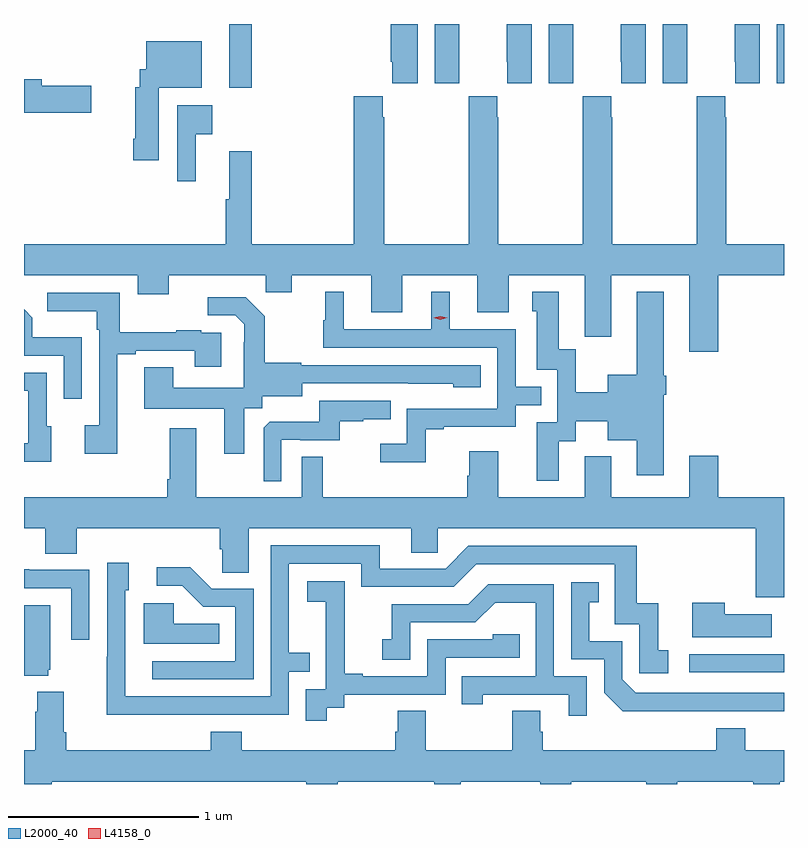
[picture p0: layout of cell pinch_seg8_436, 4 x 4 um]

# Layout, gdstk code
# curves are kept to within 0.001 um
import gdstk
lib = gdstk.Library(unit=1e-6, precision=1e-09)
def R(c, l, rs):  # rectangles x0, y0, x1, y1
    for r in rs: c.add(gdstk.rectangle(r[:2], r[2:], *l))
def P(c, l, *ps):  # polygons
    for p in ps: c.add(gdstk.Polygon(p, *l))
L2000_40 = (2000, 40)
L4158_0 = (4158, 0)

pinch_seg8_436 = lib.new_cell('pinch_seg8_436')
R(pinch_seg8_436, L2000_40, [(326.499,1138.386,326.999,1138.482), (324.08,1141.464,324.197,1141.799), (326.96,1141.488,326.999,1141.799)])
P(pinch_seg8_436, L2000_40, [(325.072,1141.799),(324.929,1141.799),(324.929,1141.6),(324.938,1141.6),(324.938,1141.488),(325.072,1141.488)],
  [(326.872,1141.799),(326.741,1141.799),(326.741,1141.6),(326.742,1141.6),(326.742,1141.488),(326.872,1141.488)],
  [(326.49,1141.6),(326.491,1141.6),(326.491,1141.799),(326.36,1141.799),(326.36,1141.488),(326.49,1141.488)],
  [(326.272,1141.799),(326.141,1141.799),(326.141,1141.6),(326.142,1141.6),(326.142,1141.488),(326.272,1141.488)],
  [(325.89,1141.6),(325.891,1141.6),(325.891,1141.799),(325.76,1141.799),(325.76,1141.488),(325.89,1141.488)],
  [(325.672,1141.799),(325.541,1141.799),(325.541,1141.6),(325.542,1141.6),(325.542,1141.488),(325.672,1141.488)],
  [(325.29,1141.6),(325.291,1141.6),(325.291,1141.799),(325.16,1141.799),(325.16,1141.488),(325.29,1141.488)],
  [(323.707,1141.463),(323.935,1141.463),(323.935,1141.708),(323.642,1141.708),(323.642,1141.56),(323.608,1141.56),(323.608,1141.467),(323.585,1141.467),(323.585,1141.195),(323.573,1141.195),(323.573,1141.083),(323.707,1141.083)],
  [(323.353,1141.473),(323.092,1141.473),(323.092,1141.507),(322.999,1141.507),(322.999,1141.331),(323.353,1141.331)],
  [(326.654,1140.476),(326.999,1140.476),(326.999,1140.64),(326.694,1140.64),(326.694,1141.307),(326.691,1141.307),(326.691,1141.42),(326.541,1141.42),(326.541,1141.307),(326.539,1141.307),(326.539,1140.64),(326.094,1140.64),(326.094,1141.307),(326.091,1141.307),(326.091,1141.42),(325.941,1141.42),(325.941,1141.307),(325.939,1141.307),(325.939,1140.64),(325.494,1140.64),(325.494,1141.307),(325.491,1141.307),(325.491,1141.42),(325.341,1141.42),(325.341,1141.307),(325.339,1141.307),(325.339,1140.64),(324.894,1140.64),(324.894,1141.307),(324.887,1141.307),(324.887,1141.42),(324.734,1141.42),(324.734,1140.64),(324.197,1140.64),(324.197,1141.129),(324.08,1141.129),(324.08,1140.876),(324.061,1140.876),(324.061,1140.64),(322.999,1140.64),(322.999,1140.476),(323.597,1140.476),(323.597,1140.377),(323.761,1140.377),(323.761,1140.476),(324.271,1140.476),(324.271,1140.386),(324.409,1140.386),(324.409,1140.476),(324.827,1140.476),(324.827,1140.282),(324.991,1140.282),(324.991,1140.476),(325.385,1140.476),(325.385,1140.282),(325.549,1140.282),(325.549,1140.476),(325.949,1140.476),(325.949,1140.265),(325.95,1140.265),(325.95,1140.153),(326.089,1140.153),(326.089,1140.476),(326.501,1140.476),(326.501,1140.075),(326.654,1140.075)],
  [(323.903,1141.22),(323.989,1141.22),(323.989,1141.372),(323.805,1141.372),(323.805,1140.972),(323.903,1140.972)],
  [(325.113,1139.667),(325.207,1139.667),(325.207,1139.679),(325.587,1139.679),(325.587,1139.793),(325.721,1139.793),(325.721,1139.889),(325.587,1139.889),(325.587,1140.192),(325.24,1140.192),(325.24,1140.391),(325.142,1140.391),(325.142,1140.192),(324.682,1140.192),(324.682,1140.391),(324.584,1140.391),(324.584,1140.24),(324.573,1140.24),(324.573,1140.096),(325.491,1140.096),(325.491,1139.775),(325.014,1139.775),(325.014,1139.59),(324.873,1139.59),(324.873,1139.492),(325.113,1139.492)],
  [(325.813,1139.602),(325.903,1139.602),(325.903,1139.708),(326.072,1139.708),(326.072,1139.609),(326.225,1139.609),(326.225,1139.424),(326.365,1139.424),(326.365,1139.849),(326.378,1139.849),(326.378,1139.949),(326.365,1139.949),(326.365,1140.391),(326.225,1140.391),(326.225,1139.953),(326.072,1139.953),(326.072,1139.86),(325.902,1139.86),(325.902,1140.087),(325.813,1140.087),(325.813,1140.391),(325.673,1140.391),(325.673,1140.288),(325.697,1140.288),(325.697,1139.979),(325.806,1139.979),(325.806,1139.703),(325.697,1139.703),(325.697,1139.394),(325.813,1139.394)],
  [(323.491,1140.06),(323.587,1140.06),(323.587,1140.078),(323.897,1140.078),(323.897,1139.994),(324.037,1139.994),(324.037,1140.174),(323.933,1140.174),(323.933,1140.187),(323.801,1140.187),(323.801,1140.176),(323.503,1140.176),(323.503,1140.384),(323.121,1140.384),(323.121,1140.287),(323.382,1140.287),(323.382,1140.191),(323.394,1140.191),(323.394,1139.686),(323.319,1139.686),(323.319,1139.538),(323.491,1139.538)],
  [(324.157,1139.776),(324.252,1139.776),(324.252,1139.84),(324.463,1139.84),(324.463,1139.907),(325.257,1139.906),(325.257,1139.888),(325.402,1139.888),(325.402,1140.003),(324.459,1140.003),(324.459,1140.016),(324.267,1140.016),(324.267,1140.261),(324.167,1140.361),(323.967,1140.361),(323.967,1140.267),(324.111,1140.267),(324.158,1140.22),(324.158,1140.125),(324.156,1140.125),(324.156,1139.884),(323.785,1139.884),(323.785,1139.993),(323.633,1139.993),(323.633,1139.774),(324.053,1139.774),(324.053,1139.538),(324.157,1139.538)],
  [(323.304,1140.151),(323.043,1140.151),(323.043,1140.254),(322.999,1140.298),(322.999,1140.054),(323.208,1140.054),(323.208,1139.826),(323.304,1139.826)],
  [(323.143,1139.682),(323.118,1139.682),(323.118,1139.964),(322.999,1139.964),(322.999,1139.868),(323.022,1139.868),(323.022,1139.592),(322.999,1139.592),(322.999,1139.495),(323.143,1139.495)],
  [(324.354,1139.61),(324.454,1139.61),(324.454,1139.607),(324.662,1139.607),(324.662,1139.709),(324.785,1139.709),(324.785,1139.72),(324.929,1139.72),(324.929,1139.817),(324.552,1139.817),(324.552,1139.705),(324.293,1139.705),(324.261,1139.673),(324.261,1139.393),(324.354,1139.393)],
  [(326.999,1139.308),(326.654,1139.308),(326.654,1139.527),(326.501,1139.527),(326.501,1139.308),(326.089,1139.308),(326.089,1139.524),(325.949,1139.524),(325.949,1139.308),(325.495,1139.308),(325.495,1139.551),(325.343,1139.551),(325.343,1139.421),(325.331,1139.421),(325.331,1139.308),(324.571,1139.308),(324.571,1139.522),(324.462,1139.522),(324.462,1139.308),(323.905,1139.308),(323.905,1139.671),(323.765,1139.671),(323.765,1139.404),(323.753,1139.404),(323.753,1139.308),(322.999,1139.308),(322.999,1139.144),(323.111,1139.144),(323.111,1139.011),(323.276,1139.011),(323.276,1139.144),(324.029,1139.144),(324.029,1139.035),(324.042,1139.035),(324.042,1138.912),(324.181,1138.912),(324.181,1139.144),(325.037,1139.144),(325.037,1139.017),(325.176,1139.017),(325.176,1139.144),(326.849,1139.144),(326.849,1138.782),(326.999,1138.782)],
  [(323.897,1138.164),(324.393,1138.164),(324.393,1138.389),(324.503,1138.389),(324.503,1138.49),(324.393,1138.49),(324.393,1138.959),(324.774,1138.959),(324.774,1138.836),(325.26,1138.836),(325.38,1138.956),(326.109,1138.956),(326.109,1138.641),(326.238,1138.641),(326.238,1138.383),(326.389,1138.383),(326.389,1138.503),(326.336,1138.503),(326.336,1138.75),(326.225,1138.75),(326.225,1139.052),(325.338,1139.052),(325.218,1138.932),(324.871,1138.932),(324.871,1139.055),(324.297,1139.055),(324.297,1138.26),(323.533,1138.26),(323.532,1138.818),(323.551,1138.818),(323.551,1138.963),(323.436,1138.963),(323.436,1138.469),(323.434,1138.469),(323.434,1138.163)],
  [(324.207,1138.827),(323.988,1138.827),(323.875,1138.94),(323.697,1138.94),(323.697,1138.842),(323.831,1138.842),(323.942,1138.731),(324.111,1138.731),(324.111,1138.446),(323.673,1138.446),(323.673,1138.35),(324.207,1138.35)],
  [(323.343,1138.926),(323.027,1138.926),(323.027,1138.928),(322.999,1138.928),(322.999,1138.83),(323.247,1138.83),(323.247,1138.557),(323.343,1138.557)],
  [(324.592,1138.201),(324.684,1138.201),(324.684,1138.269),(325.218,1138.269),(325.218,1138.464),(325.607,1138.464),(325.607,1138.587),(325.467,1138.587),(325.467,1138.56),(325.122,1138.56),(325.122,1138.365),(324.781,1138.365),(324.781,1138.378),(324.686,1138.378),(324.686,1138.661),(324.687,1138.661),(324.687,1138.867),(324.489,1138.867),(324.489,1138.757),(324.587,1138.757),(324.587,1138.529),(324.588,1138.529),(324.588,1138.299),(324.483,1138.299),(324.483,1138.131),(324.592,1138.131)],
  [(326.558,1138.182),(326.999,1138.182),(326.999,1138.278),(326.22,1138.278),(326.148,1138.35),(326.148,1138.551),(325.975,1138.551),(325.975,1138.755),(326.024,1138.755),(326.024,1138.861),(325.878,1138.861),(325.878,1138.455),(326.052,1138.455),(326.052,1138.278),(326.15,1138.181)],
  [(325.962,1138.365),(325.788,1138.365),(325.788,1138.851),(325.442,1138.851),(325.337,1138.746),(324.934,1138.746),(324.934,1138.561),(324.885,1138.561),(324.885,1138.452),(325.032,1138.452),(325.032,1138.65),(325.374,1138.65),(325.478,1138.754),(325.692,1138.754),(325.692,1138.365),(325.303,1138.365),(325.303,1138.218),(325.414,1138.218),(325.414,1138.269),(325.865,1138.269),(325.865,1138.158),(325.962,1138.158)],
  [(326.935,1138.693),(326.687,1138.693),(326.687,1138.753),(326.516,1138.753),(326.516,1138.571),(326.935,1138.571)],
  [(324.026,1138.642),(323.787,1138.642),(323.787,1138.75),(323.63,1138.75),(323.63,1138.538),(324.026,1138.538)],
  [(323.126,1138.401),(323.137,1138.401),(323.137,1138.741),(322.999,1138.741),(322.999,1138.37),(323.126,1138.37)],
  [(323.146,1137.812),(324.485,1137.812),(324.485,1137.799),(324.649,1137.799),(324.649,1137.812),(325.159,1137.812),(325.159,1137.799),(325.297,1137.799),(325.297,1137.812),(325.715,1137.812),(325.715,1137.799),(325.879,1137.799),(325.879,1137.812),(326.273,1137.812),(326.273,1137.799),(326.437,1137.799),(326.437,1137.812),(326.837,1137.812),(326.837,1137.799),(326.977,1137.799),(326.977,1137.812),(326.999,1137.812),(326.999,1137.976),(326.794,1137.976),(326.794,1138.093),(326.642,1138.093),(326.642,1137.976),(325.73,1137.976),(325.73,1138.074),(325.717,1138.074),(325.717,1138.184),(325.57,1138.184),(325.57,1137.976),(325.113,1137.976),(325.113,1138.184),(324.965,1138.184),(324.965,1138.074),(324.953,1138.074),(324.953,1137.976),(324.146,1137.976),(324.146,1138.075),(323.981,1138.075),(323.981,1137.976),(323.222,1137.976),(323.222,1138.072),(323.209,1138.072),(323.209,1138.285),(323.069,1138.285),(323.069,1138.178),(323.057,1138.178),(323.057,1137.976),(322.999,1137.976),(322.999,1137.799),(323.146,1137.799)])
P(pinch_seg8_436, L4158_0, [(325.191,1140.242),(325.155,1140.252),(325.155,1140.252),(325.155,1140.253),(325.191,1140.262),(325.227,1140.253),(325.227,1140.252),(325.227,1140.252)])

lib.write_gds('pinch_seg8_436.gds')
